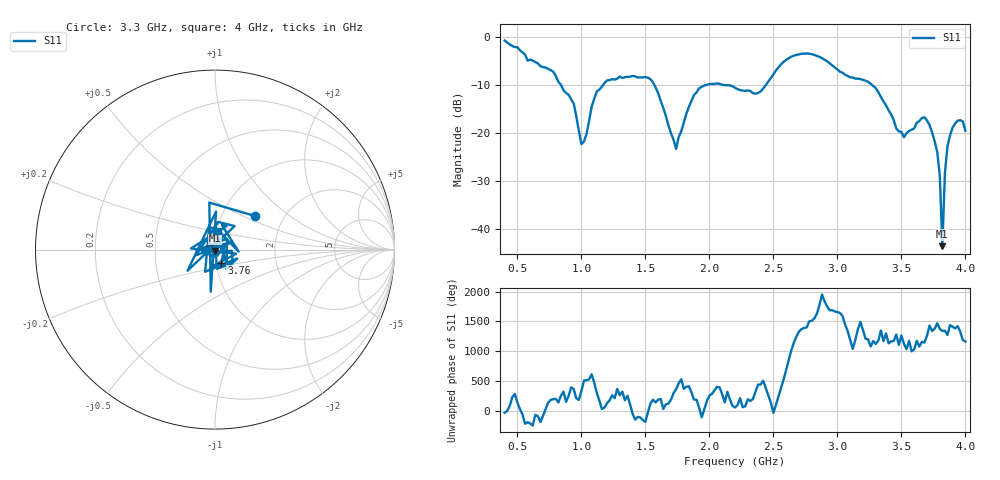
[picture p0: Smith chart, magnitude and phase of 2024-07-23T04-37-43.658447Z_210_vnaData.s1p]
!Created with skrf (http://scikit-rf.org).
# Hz S RI R 50.0
!freq ReS11 ImS11
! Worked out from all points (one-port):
!   181 points, 400 MHz to 4 GHz, reference 50 ohm
!   lowest |S11| = -43.6 dB at 3.82 GHz (marker M1), VSWR 1.01, Z = 49.9 - j0.642 ohm
!   |S11| at or under -10 dB: 1.569 GHz to 1.981 GHz (411.7 MHz wide, 23.2 % of centre); 2.098 GHz to 2.443 GHz (345 MHz wide, 15.2 % of centre); 3.268 GHz to end of sweep (the widest 3 of 4)
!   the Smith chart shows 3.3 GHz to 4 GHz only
!   S11 on the Smith chart (normalised r, x): 3.3 GHz: 1.43, +0.59; 3.76 GHz: 1.06, -0.16; 4 GHz: 1.01, +0.21
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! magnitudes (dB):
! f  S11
! 400 MHz  -0.8
! 780 MHz  -7.3
! 860 MHz  -11.1
! 940 MHz  -13.9
! 1 GHz  -22.4
! 1.04 GHz  -20.3
! 1.12 GHz  -11.4
! 1.3 GHz  -8.3
! 1.54 GHz  -8.9
! 1.74 GHz  -23.4
! 1.76 GHz  -20.9
! 1.92 GHz  -10.7
! 2.2 GHz  -10.6
! 2.38 GHz  -11.7
! 2.66 GHz  -3.9
! 2.86 GHz  -4.2
! 3.1 GHz  -8.5
! 3.3 GHz  -10.7
! 3.46 GHz  -19.1
! 3.56 GHz  -19.6
! 3.68 GHz  -16.8
! 3.76 GHz  -21.8
! 3.8 GHz  -28.9
! 3.82 GHz  -43.6
! 3.84 GHz  -28.4
! 3.86 GHz  -22.8
! 3.94 GHz  -17.5
! 4 GHz  -19.6
